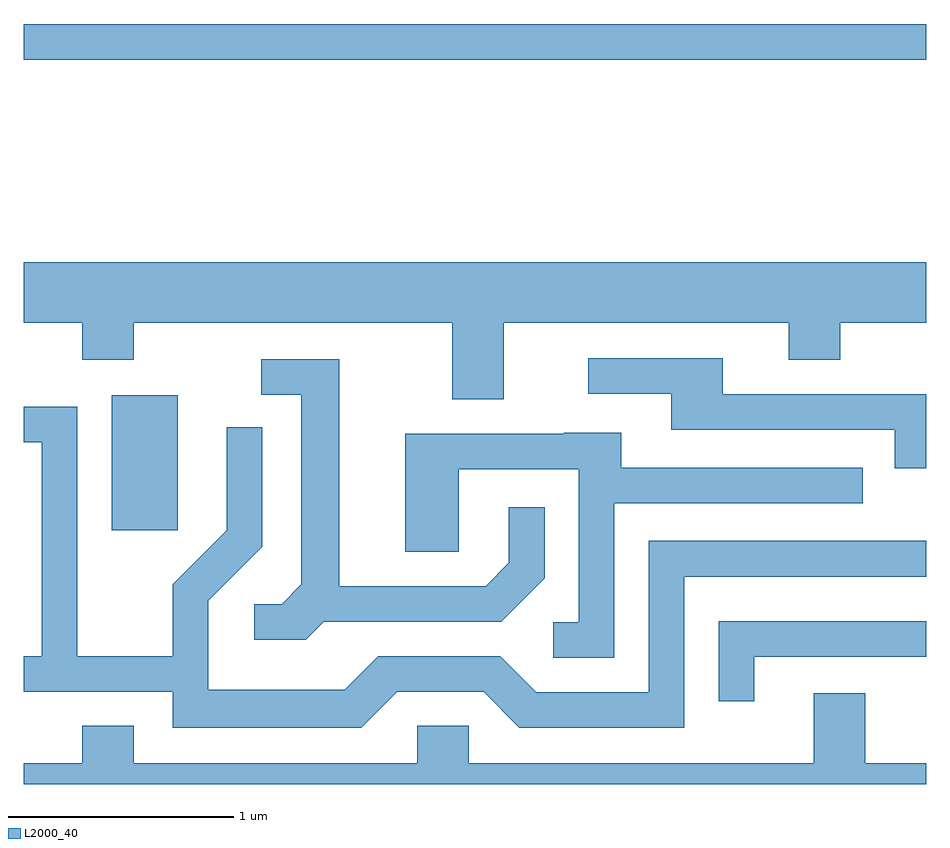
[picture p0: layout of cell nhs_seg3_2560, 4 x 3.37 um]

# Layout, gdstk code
import gdstk
lib = gdstk.Library(unit=1e-6, precision=1e-09)
def R(c, l, rs):  # rectangles x0, y0, x1, y1
    for r in rs: c.add(gdstk.rectangle(r[:2], r[2:], *l))
def P(c, l, *ps):  # polygons
    for p in ps: c.add(gdstk.Polygon(p, *l))
L2000_40 = (2000, 40)

nhs_seg3_2560 = lib.new_cell('nhs_seg3_2560')
R(nhs_seg3_2560, L2000_40, [(260.001,1205.016,260.294,1205.614), (259.611,1207.101,263.611,1207.259)])
P(nhs_seg3_2560, L2000_40, [(261.739,1205.936),(263.001,1205.936),(263.001,1205.771),(263.229,1205.771),(263.229,1205.936),(263.611,1205.936),(263.611,1206.204),(259.611,1206.204),(259.611,1205.936),(259.871,1205.936),(259.871,1205.771),(260.099,1205.771),(260.099,1205.936),(261.511,1205.936),(261.511,1205.596),(261.739,1205.596)],
  [(263.611,1205.619),(262.709,1205.619),(262.709,1205.779),(262.113,1205.779),(262.113,1205.621),(262.481,1205.621),(262.481,1205.461),(263.471,1205.461),(263.471,1205.291),(263.611,1205.291)],
  [(260.942,1204.611),(261.727,1204.611),(261.919,1204.804),(261.919,1205.118),(261.761,1205.118),(261.761,1204.872),(261.659,1204.769),(261.009,1204.769),(261.009,1205.774),(260.663,1205.774),(260.663,1205.616),(260.841,1205.616),(260.841,1204.777),(260.754,1204.689),(260.633,1204.689),(260.633,1204.531),(260.861,1204.531)],
  [(261.267,1204.301),(261.649,1204.301),(261.808,1204.141),(262.539,1204.141),(262.539,1204.811),(263.611,1204.811),(263.611,1204.969),(262.381,1204.969),(262.381,1204.299),(261.882,1204.299),(261.722,1204.459),(261.183,1204.459),(261.034,1204.309),(260.429,1204.309),(260.429,1204.704),(260.669,1204.944),(260.669,1205.473),(260.511,1205.473),(260.511,1205.017),(260.271,1204.777),(260.271,1204.459),(259.849,1204.459),(259.849,1205.564),(259.611,1205.564),(259.611,1205.406),(259.691,1205.406),(259.691,1204.459),(259.611,1204.459),(259.611,1204.301),(260.271,1204.301),(260.271,1204.141),(261.106,1204.141)],
  [(262.229,1205.136),(263.328,1205.136),(263.328,1205.294),(262.259,1205.294),(262.259,1205.449),(262.005,1205.449),(262.005,1205.444),(261.301,1205.444),(261.301,1204.921),(261.539,1204.921),(261.539,1205.286),(262.071,1205.286),(262.071,1204.609),(261.957,1204.609),(261.957,1204.451),(262.229,1204.451)],
  [(262.849,1204.456),(263.611,1204.456),(263.611,1204.614),(262.691,1204.614),(262.691,1204.258),(262.849,1204.258)],
  [(263.611,1203.984),(263.339,1203.984),(263.339,1204.294),(263.111,1204.294),(263.111,1203.984),(261.584,1203.984),(261.584,1204.149),(261.356,1204.149),(261.356,1203.984),(260.099,1203.984),(260.099,1204.149),(259.871,1204.149),(259.871,1203.984),(259.611,1203.984),(259.611,1203.892),(263.611,1203.892)])

lib.write_gds('nhs_seg3_2560.gds')
